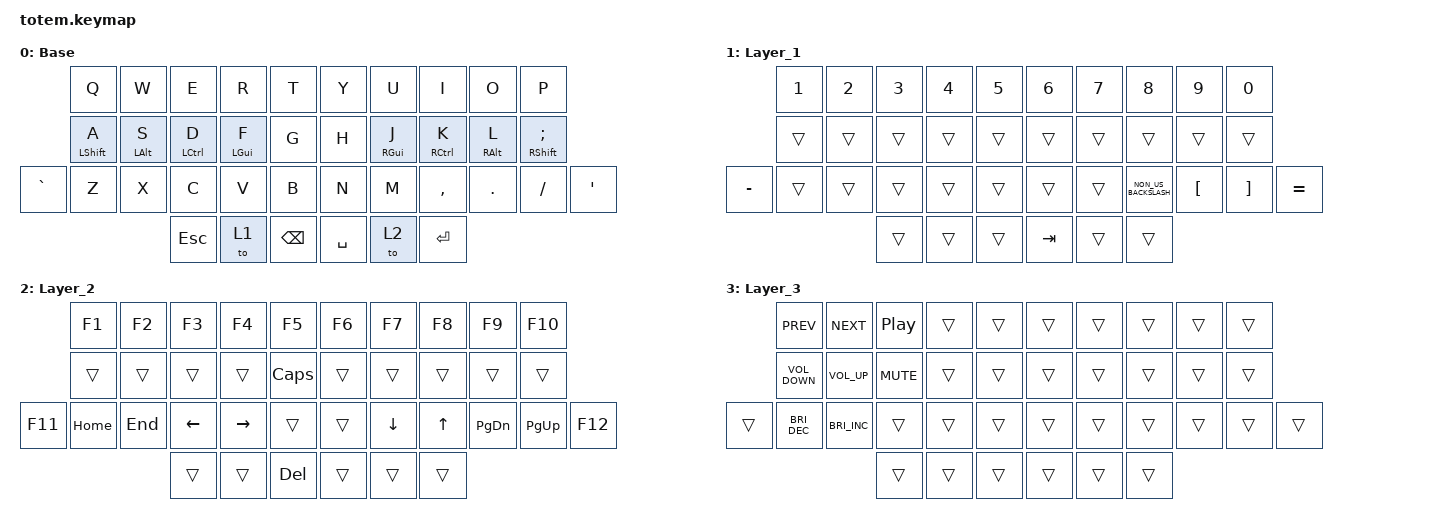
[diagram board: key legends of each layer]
//
//                                                        ▀▀▀▀▀     ▀▀▀▀▀          ▀▀█▀▀
//                                                        ▄▀▀▀▄  ▄  ▄▀▀▀▄  ▄  ▄▀▀▀▄  █  ▄▀▀▀▄
//                                                        █   █  █  █   █  █  █   █  █  █   █
//                                                         ▀▀▀   █   ▀▀▀   █   ▀▀▀   ▀   ▀▀▀
//                                                               █      ▄▄▄█▄▄▄    █   █  
//                                                               ▀      █  █  █     █▄█
//                                                             ▀▀▀▀▀    █  █  █      ▀
//                                                                      ▀  ▀  ▀
//
// ▄▄▄▄▄▄▄▄▄▄▄▄▄▄▄▄▄▄▄▄▄▄▄▄▄▄▄▄▄▄▄▄▄▄▄▄▄▄▄▄▄▄▄▄▄▄▄▄▄▄▄▄▄▄▄▄▄▄▄▄▄▄▄▄▄▄▄▄▄▄▄▄▄▄▄▄▄▄▄▄▄▄▄▄▄▄▄▄▄▄▄▄▄▄▄▄▄▄▄▄▄▄▄▄▄▄▄▄▄▄▄▄▄▄▄▄▄▄▄▄▄▄▄▄▄▄▄▄▄▄▄▄▄▄▄▄▄▄▄▄▄▄▄▄▄▄▄▄▄

#include <behaviors.dtsi>
#include <dt-bindings/zmk/keys.h>

#define Base        0
#define Layer_1     1
#define Layer_2     2
#define Layer_3     3

&mt {
    quick-tap-ms = <100>;
    global-quick-tap;
    flavor = "tap-preferred";
    tapping-term-ms = <170>;
};

&lt {
    tapping-term-ms = <240>;
    flavor = "balanced";
    quick-tap-ms = <150>;
};

/ {
    behaviors {
        hm: homerow_mods {
            compatible = "zmk,behavior-hold-tap";
            label = "HOMEROW_MODS";
            #binding-cells = <2>;
            flavor = "tap-preferred";
            tapping-term-ms = <200>;
            quick-tap-ms = <125>;
            global-quick-tap;
            bindings = <&kp>, <&kp>;
        };
    };

    combos { compatible = "zmk,combos"; };

    keymap {
        compatible = "zmk,keymap";

        Base {
            label = "Base";
            bindings = <
           &kp Q             &kp W       &kp E        &kp R           &kp T            &kp Y      &kp U            &kp I        &kp O       &kp P
           &hm LEFT_SHIFT A  &hm LALT S  &hm LCTRL D  &hm LEFT_GUI F  &kp G            &kp H      &hm RIGHT_GUI J  &hm RCTRL K  &hm RALT L  &hm RIGHT_SHIFT SEMICOLON
&kp GRAVE  &kp Z             &kp X       &kp C        &kp V           &kp B            &kp N      &kp M            &kp COMMA    &kp DOT     &kp SLASH                  &kp APOS
                                         &kp ESCAPE   &to 1           &kp BACKSPACE    &kp SPACE  &to 2            &kp ENTER
            >;
        };

        Layer_1 {
            label = "Layer_1";
            bindings = <
           &kp NUMBER_1  &kp NUMBER_2  &kp NUMBER_3  &kp NUMBER_4  &kp N5    &kp NUMBER_6  &kp NUMBER_7  &kp NUMBER_8          &kp NUMBER_9      &kp N0
           &trans        &trans        &trans        &trans        &trans    &trans        &trans        &trans                &trans            &trans
&kp MINUS  &trans        &trans        &trans        &trans        &trans    &trans        &trans        &kp NON_US_BACKSLASH  &kp LEFT_BRACKET  &kp RBKT  &kp EQUAL
                                       &trans        &trans        &trans    &kp TAB       &trans        &trans
            >;
        };

        Layer_2 {
            label = "Layer_2";
            bindings = <
         &kp F1    &kp F2   &kp F3    &kp F4     &kp F5          &kp F6  &kp F7    &kp F8  &kp F9     &kp F10
         &trans    &trans   &trans    &trans     &kp CAPSLOCK    &trans  &trans    &trans  &trans     &trans
&kp F11  &kp HOME  &kp END  &kp LEFT  &kp RIGHT  &trans          &trans  &kp DOWN  &kp UP  &kp PG_DN  &kp PG_UP  &kp F12
                            &trans    &trans     &kp DELETE      &trans  &trans    &trans
            >;
        };

        Layer_3 {
            label = "Layer_3";
            bindings = <
        &kp C_PREV            &kp C_NEXT            &kp C_PLAY_PAUSE  &trans  &trans    &trans  &trans  &trans  &trans  &trans
        &kp C_VOLUME_DOWN     &kp C_VOL_UP          &kp K_MUTE        &trans  &trans    &trans  &trans  &trans  &trans  &trans
&trans  &kp C_BRIGHTNESS_DEC  &kp C_BRIGHTNESS_INC  &trans            &trans  &trans    &trans  &trans  &trans  &trans  &trans  &trans
                                                    &trans            &trans  &trans    &trans  &trans  &trans
            >;
        };
    };

    conditional_layers {
        compatible = "zmk,conditional-layers";

        Reveal_Layer_3 {
            if-layers = <1 2>;
            then-layer = <3>;
        };
    };
};


